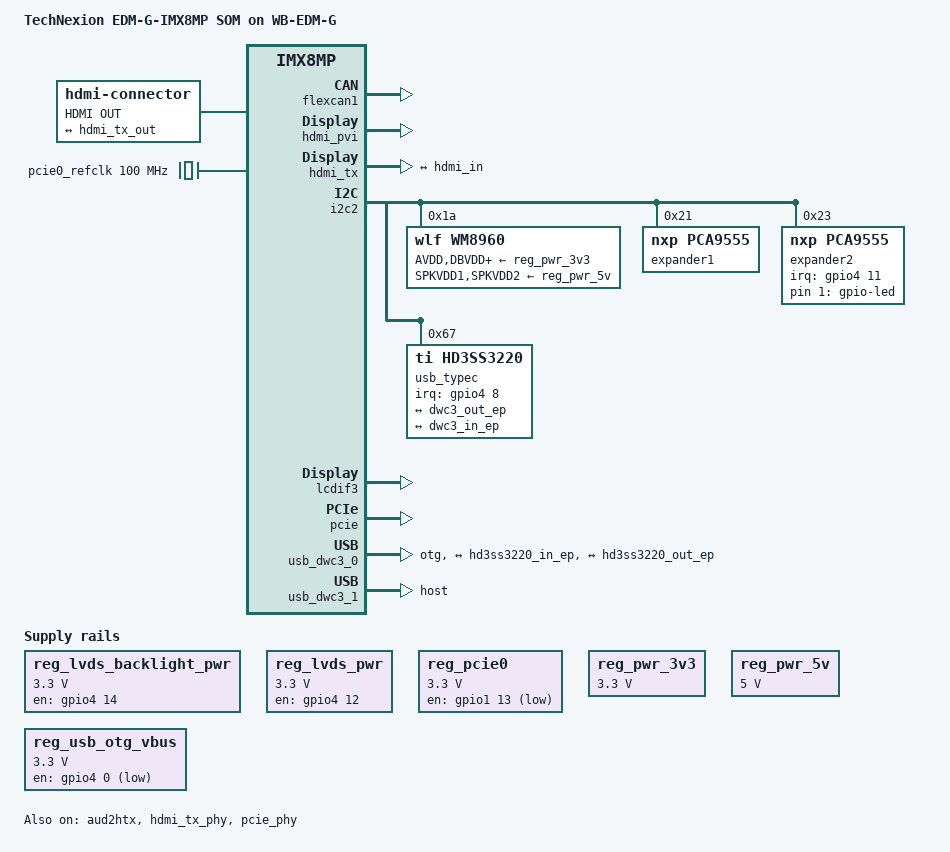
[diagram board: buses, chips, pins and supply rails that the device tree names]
// SPDX-License-Identifier: (GPL-2.0+ OR MIT)
/*
 * Copyright 2024 TechNexion Ltd.
 *
 * Author: Ray Chang <ray.chang@technexion.com>
 */

/dts-v1/;

#include "imx8mp-edm-g.dtsi"

/ {
	compatible = "technexion,edm-g-imx8mp-wb", "technexion,edm-g-imx8mp", "fsl,imx8mp";
	model = "TechNexion EDM-G-IMX8MP SOM on WB-EDM-G";

	gpio-leds {
		compatible = "gpio-leds";

		led {
			default-state = "on";
			gpios = <&expander2 1 GPIO_ACTIVE_HIGH>;
			label = "gpio-led";
		};
	};

	lvds_backlight: lvds-backlight {
		compatible = "pwm-backlight";
		brightness-levels = <0 36 72 108 144 180 216 255>;
		default-brightness-level = <6>;
		pwms = <&pwm2 0 50000 0>;
		status = "disabled";
	};

	native-hdmi-connector {
		compatible = "hdmi-connector";
		label = "HDMI OUT";
		type = "a";

		port {
			hdmi_in: endpoint {
				remote-endpoint = <&hdmi_tx_out>;
			};
		};
	};

	pcie0_refclk: pcie0-refclk {
		compatible = "fixed-clock";
		#clock-cells = <0>;
		clock-frequency = <100000000>;
	};

	reg_lvds_backlight_pwr: regulator-lvdsblpwr {
		compatible = "regulator-fixed";
		pinctrl-0 = <&pinctrl_lvds0_backlight_pwr>;
		pinctrl-names = "default";
		regulator-always-on;
		regulator-max-microvolt = <3300000>;
		regulator-min-microvolt = <3300000>;
		regulator-name = "lvds0_bl_en";
		gpio = <&gpio4 14 GPIO_ACTIVE_HIGH>;
		enable-active-high;
	};

	reg_lvds_pwr: regulator-lvdspwr {
		compatible = "regulator-fixed";
		pinctrl-0 = <&pinctrl_lvds0_pwr>;
		pinctrl-names = "default";
		regulator-max-microvolt = <3300000>;
		regulator-min-microvolt = <3300000>;
		regulator-name = "lvds0_vdden";
		gpio = <&gpio4 12 GPIO_ACTIVE_HIGH>;
		enable-active-high;
	};

	reg_pcie0: regulator-pcie {
		compatible = "regulator-fixed";
		regulator-max-microvolt = <3300000>;
		regulator-min-microvolt = <3300000>;
		regulator-name = "PCIE_CLKREQ_N";
		gpio = <&gpio1 13 GPIO_ACTIVE_LOW>;
	};

	reg_pwr_3v3: regulator-pwr-3v3 {
		compatible = "regulator-fixed";
		regulator-always-on;
		regulator-boot-on;
		regulator-max-microvolt = <3300000>;
		regulator-min-microvolt = <3300000>;
		regulator-name = "pwr-3v3";
	};

	reg_pwr_5v: regulator-pwr-5v {
		compatible = "regulator-fixed";
		regulator-always-on;
		regulator-boot-on;
		regulator-max-microvolt = <5000000>;
		regulator-min-microvolt = <5000000>;
		regulator-name = "pwr-5v";
	};

	sound-hdmi {
		compatible = "fsl,imx-audio-hdmi";
		audio-cpu = <&aud2htx>;
		hdmi-out;
		model = "audio-hdmi";
	};

	sound-wm8960 {
		compatible = "simple-audio-card";
		simple-audio-card,bitclock-master = <&cpudai>;
		simple-audio-card,format = "i2s";
		simple-audio-card,frame-master = <&cpudai>;
		simple-audio-card,name = "wm8960-audio";
		simple-audio-card,routing = "Headphone Jack", "HP_L",
			"Headphone Jack", "HP_R",
			"External Speaker", "SPK_LP",
			"External Speaker", "SPK_LN",
			"External Speaker", "SPK_RP",
			"External Speaker", "SPK_RN",
			"LINPUT1", "Mic Jack",
			"RINPUT1", "Mic Jack",
			"Mic Jack", "MICB";
		simple-audio-card,widgets = "Headphone", "Headphone Jack",
			"Speaker", "External Speaker",
			"Microphone", "Mic Jack";

		simple-audio-card,codec {
			sound-dai = <&wm8960>;
		};

		cpudai: simple-audio-card,cpu {
			sound-dai = <&sai3>;
		};
	};

	reg_usb_otg_vbus: usb-otg-vbus {
		compatible = "regulator-fixed";
		pinctrl-0 = <&pinctrl_otg_vbus>;
		pinctrl-names = "default";
		regulator-max-microvolt = <3300000>;
		regulator-min-microvolt = <3300000>;
		regulator-name = "usb_otg_vbus";
		gpio = <&gpio4 0 GPIO_ACTIVE_LOW>;
	};
};

&aud2htx {
	status = "okay";
};

&flexcan1 {
	status = "okay";
};

&gpio1 {
	gpio-line-names = \
		"", "", "", "", "", "", "DSI_RST", "",	\
		"", "", "", "", "", "", "", "",	\
		"", "", "", "", "", "", "", "",	\
		"", "", "", "", "", "", "", "";
	pinctrl-0 = <&pinctrl_gpio1>;
};

&gpio4 {
	gpio-line-names = \
		"", "", "", "", "", "", "GPIO_P249", "GPIO_P251",	\
		"", "GPIO_P255", "", "", "", "", "", "",	\
		"DSI_BL_EN", "DSI_VDDEN", "", "", "", "", "", "",	\
		"", "", "", "", "", "", "", "";
	pinctrl-0 = <&pinctrl_gpio4>;
};

&hdmi_pvi {
	status = "okay";
};

&hdmi_tx {
	pinctrl-0 = <&pinctrl_hdmi>;
	pinctrl-names = "default";
	status = "okay";

	ports {
		port@1 {
			hdmi_tx_out: endpoint {
				remote-endpoint = <&hdmi_in>;
			};
		};
	};
};

&hdmi_tx_phy {
	status = "okay";
};

&i2c2 {
	wm8960: codec@1a {
		compatible = "wlf,wm8960";
		reg = <0x1a>;
		clocks = <&audio_blk_ctrl IMX8MP_CLK_AUDIOMIX_SAI3_MCLK1>;
		clock-names = "mclk";
		#sound-dai-cells = <0>;
		AVDD-supply = <&reg_pwr_3v3>;
		DBVDD-supply = <&reg_pwr_3v3>;
		DCVDD-supply = <&reg_pwr_3v3>;
		SPKVDD1-supply = <&reg_pwr_5v>;
		SPKVDD2-supply = <&reg_pwr_5v>;
		wlf,hp-cfg = <2 2 3>;
		wlf,shared-lrclk;
	};

	expander1: gpio@21 {
		compatible = "nxp,pca9555";
		reg = <0x21>;
		#gpio-cells = <2>;
		gpio-controller;
		gpio-line-names = "EXPOSURE_TRIG_IN1", "FLASH_OUT1",
				  "INFO_TRIG_IN1", "CAM_SHUTTER1", "XVS1",
				  "PWR1_TIME0", "PWR1_TIME1", "PWR1_TIME2",
				  "EXPOSURE_TRIG_IN2", "FLASH_OUT2",
				  "INFO_TRIG_IN2", "CAM_SHUTTER2", "XVS2",
				  "PWR2_TIME0", "PWR2_TIME1", "PWR2_TIME2";
	};

	expander2: gpio@23 {
		compatible = "nxp,pca9555";
		reg = <0x23>;
		#interrupt-cells = <2>;
		interrupt-controller;
		interrupt-parent = <&gpio4>;
		interrupts = <11 IRQ_TYPE_LEVEL_LOW>;
		#gpio-cells = <2>;
		gpio-controller;
		gpio-line-names = "M2_DISABLE_N", "LED_EN", "", "",
				  "", "", "", "USB_OTG_OC",
				  "EXT_GPIO8", "EXT_GPIO9", "", "",
				  "", "CSI1_PDB", "CSI2_PDB", "PD_FAULT";
		pinctrl-0 = <&pinctrl_expander2_irq>;
		pinctrl-names = "default";
	};

	usb_typec: usb-typec@67 {
		compatible = "ti,hd3ss3220";
		reg = <0x67>;
		interrupt-parent = <&gpio4>;
		interrupts = <8 IRQ_TYPE_LEVEL_LOW>;
		pinctrl-0 = <&pinctrl_hd3ss3220_irq>;
		pinctrl-names = "default";

		ports {
			#address-cells = <1>;
			#size-cells = <0>;

			port@0 {
				reg = <0>;

				hd3ss3220_in_ep: endpoint {
					remote-endpoint = <&dwc3_out_ep>;
				};
			};

			port@1 {
				reg = <1>;

				hd3ss3220_out_ep: endpoint {
					remote-endpoint = <&dwc3_in_ep>;
				};
			};
		};
	};
};

&iomuxc {
	pinctrl_csi0_pwn: csi0-pwn-grp {
		fsl,pins = <
			MX8MP_IOMUXC_GPIO1_IO07__GPIO1_IO07	0x9
		>;
	};

	pinctrl_csi0_rst: csi0-rst-grp {
		fsl,pins = <
			MX8MP_IOMUXC_GPIO1_IO08__GPIO1_IO08	0x9
			MX8MP_IOMUXC_GPIO1_IO14__CCM_CLKO1	0x59
		>;
	};

	pinctrl_csi1_pwn: csi1-pwn-grp {
		fsl,pins = <
			MX8MP_IOMUXC_SAI1_RXD3__GPIO4_IO05	0x9
		>;
	};

	pinctrl_csi1_rst: csi1-rst-grp {
		fsl,pins = <
			MX8MP_IOMUXC_SAI1_RXD2__GPIO4_IO04	0x9
			MX8MP_IOMUXC_GPIO1_IO15__CCM_CLKO2	0x59
		>;
	};

	pinctrl_expander2_irq: expander2-irqgrp {
		fsl,pins = <
			MX8MP_IOMUXC_SAI1_TXC__GPIO4_IO11		0x140 /* GPIO_P247 */
		>;
	};

	pinctrl_gpio1: gpio1grp {
		fsl,pins = <
			MX8MP_IOMUXC_GPIO1_IO06__GPIO1_IO06		0x16 /* DSI_RST */
		>;
	};

	pinctrl_gpio4: gpio4grp {
		fsl,pins = <
			MX8MP_IOMUXC_SAI1_RXD4__GPIO4_IO06		0x16 /* GPIO_P249 */
			MX8MP_IOMUXC_SAI1_RXD5__GPIO4_IO07		0x16 /* GPIO_P251 */
			MX8MP_IOMUXC_SAI1_RXD7__GPIO4_IO09		0x16 /* GPIO_P255 */
			MX8MP_IOMUXC_SAI1_TXD4__GPIO4_IO16		0x16 /* DSI_BL_EN */
			MX8MP_IOMUXC_SAI1_TXD5__GPIO4_IO17		0x16 /* DSI_VDDEN */
		>;
	};

	pinctrl_hd3ss3220_irq: hd3ss3220-irqgrp {
		fsl,pins = <
			MX8MP_IOMUXC_SAI1_RXD6__GPIO4_IO08		0x41 /* GPIO_P253 */
		>;
	};

	pinctrl_hdmi: hdmigrp {
		fsl,pins = <
			MX8MP_IOMUXC_HDMI_DDC_SCL__HDMIMIX_HDMI_SCL	0x1c2
			MX8MP_IOMUXC_HDMI_DDC_SDA__HDMIMIX_HDMI_SDA	0x1c2
			MX8MP_IOMUXC_HDMI_CEC__HDMIMIX_HDMI_CEC		0x10
		>;
	};

	pinctrl_lvds0_backlight_pwr: lvds0-bl-pwrgrp {
		fsl,pins = <
			MX8MP_IOMUXC_SAI1_TXD2__GPIO4_IO14		0x19 /* LVDS0_BL_EN */
		>;
	};

	pinctrl_lvds0_pwr: lvds0-pwrgrp {
		fsl,pins = <
			MX8MP_IOMUXC_SAI1_TXD0__GPIO4_IO12		0x19 /* LVDS0_VDDEN */
		>;
	};

	pinctrl_otg_vbus: otgvbusgrp {
		fsl,pins = <
			MX8MP_IOMUXC_SAI1_RXFS__GPIO4_IO00		0x19 /* USB_OTG_PWR_EN */
		>;
	};
};

&lcdif3 {
	status = "okay";
};

&pcie {
	vpcie-supply = <&reg_pcie0>;
	status = "okay";
};

&pcie_phy {
	clocks = <&pcie0_refclk>;
	clock-names = "ref";
	fsl,refclk-pad-mode = <IMX8_PCIE_REFCLK_PAD_INPUT>;
	status = "okay";
};

&usb_dwc3_0 {
	adp-disable;
	dr_mode = "otg";
	hnp-disable;
	srp-disable;
	usb-role-switch;
	status = "okay";

	ports {
		#address-cells = <1>;
		#size-cells = <0>;

		port@0 {
			reg = <0>;

			dwc3_out_ep: endpoint {
				remote-endpoint = <&hd3ss3220_in_ep>;
			};
		};

		port@1 {
			reg = <1>;

			dwc3_in_ep: endpoint {
				remote-endpoint = <&hd3ss3220_out_ep>;
			};
		};
	};
};

&usb_dwc3_1 {
	dr_mode = "host";
	status = "okay";
};
